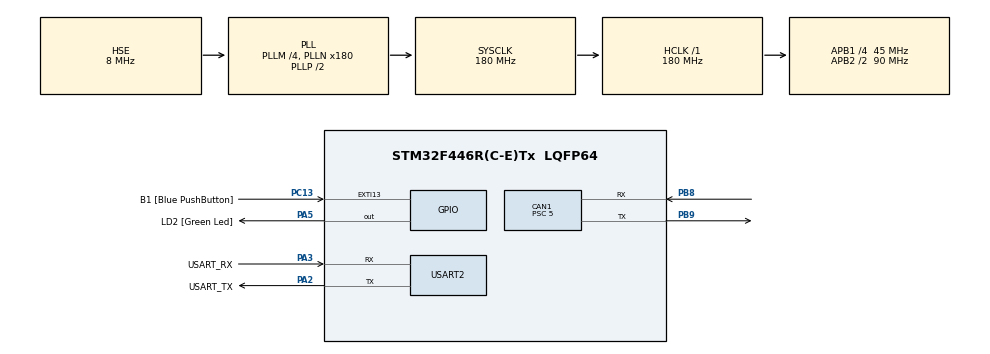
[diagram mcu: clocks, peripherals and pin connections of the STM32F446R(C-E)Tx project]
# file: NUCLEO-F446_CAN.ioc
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Mcu.Family=STM32F4
PH0-OSC_IN.Signal=RCC_OSC_IN
RCC.CortexFreq_Value=180000000
PA14.GPIO_Label=TCK
PC13.GPIO_Label=B1 [Blue PushButton]
RCC.SYSCLKSource=RCC_SYSCLKSOURCE_PLLCLK
ProjectManager.StackSize=0x400
RCC.HCLKFreq_Value=180000000
RCC.APB2TimFreq_Value=180000000
RCC.AHBFreq_Value=180000000
PH0-OSC_IN.Mode=HSE-External-Oscillator
RCC.HSE_VALUE=8000000
PC14-OSC32_IN.Mode=LSE-External-Oscillator
PA14.Mode=Serial_Wire
RCC.FLatency-AdvancedSettings=FLASH_LATENCY_5
PH1-OSC_OUT.Mode=HSE-External-Oscillator
CAN1.Prescaler=5
Mcu.Package=LQFP64
PB9.Signal=CAN1_TX
USART2.VirtualMode=VM_ASYNC
PA2.GPIO_Label=USART_TX
RCC.APB2CLKDivider=RCC_HCLK_DIV2
RCC.APB1TimFreq_Value=90000000
CAN1.CalculateTimeBit=1999.99
CAN1.CalculateTimeQuantum=111.11111111111111
PA3.Signal=USART2_RX
PB3.GPIO_Label=SWO
RCC.PLLSourceVirtual=RCC_PLLSOURCE_HSE
PC15-OSC32_OUT.Mode=LSE-External-Oscillator
PC13.Signal=GPXTI13
CAN1.CalculateBaudRate=500000
RCC.APB1CLKDivider=RCC_HCLK_DIV4
PC14-OSC32_IN.Signal=RCC_OSC32_IN
PA3.Mode=Asynchronous
PA13.Signal=SYS_JTMS-SWDIO
CAN1.BS2=CAN_BS2_2TQ
CAN1.BS1=CAN_BS1_15TQ
ProjectManager.TargetToolchain=STM32CubeIDE
PB9.Mode=CAN_Activate
RCC.USBFreq_Value=180000000
PC15-OSC32_OUT.Signal=RCC_OSC32_OUT
PA5.Signal=GPIO_Output
board=NUCLEO-F446RE
RCC.VCOOutputFreq_Value=360000000
RCC.APB2Freq_Value=90000000
PH1-OSC_OUT.Signal=RCC_OSC_OUT
PA13.Mode=Serial_Wire
Mcu.Name=STM32F446R(C-E)Tx
PA13.GPIO_Label=TMS
PA2.Signal=USART2_TX
RCC.48MHZClocksFreq_Value=84000000
PB3.Signal=SYS_JTDO-SWO
RCC.SYSCLKFreq_VALUE=180000000
PA5.GPIO_Label=LD2 [Green Led]
PC13.GPIO_ModeDefaultEXTI=GPIO_MODE_IT_FALLING
PA14.Signal=SYS_JTCK-SWCLK
ProjectManager.HeapSize=0x200
RCC.HSI_VALUE=16000000
NVIC.PriorityGroup=NVIC_PRIORITYGROUP_0
RCC.PLLM=4
PB8.Mode=CAN_Activate
RCC.PLLN=180
PA2.Mode=Asynchronous
PB8.Signal=CAN1_RX
RCC.APB1Freq_Value=45000000
NVIC.CAN1_RX0_IRQn=true\:0\:2\:false\:false\:true\:true\:true
PA3.GPIO_Label=USART_RX

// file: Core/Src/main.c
/* USER CODE BEGIN Header */
/**
  ******************************************************************************
  * @file           : main.c
  * @brief          : Main program body
  ******************************************************************************
  * @attention
  *
  * <h2><center>&copy; Copyright (c) 2021 STMicroelectronics.
  * All rights reserved.</center></h2>
  *
  * This software component is licensed by ST under BSD 3-Clause license,
  * the "License"; You may not use this file except in compliance with the
  * License. You may obtain a copy of the License at:
  *                        opensource.org/licenses/BSD-3-Clause
  *
  ******************************************************************************
  */
/* USER CODE END Header */
#include "main.h"
#include "can.h"
#include "usart.h"
#include "gpio.h"

/* USER CODE BEGIN PV */
extern CAN_TxHeaderTypeDef pHeader;
extern CAN_FilterTypeDef sFilterConfig;
extern uint32_t pTxMailbox;
uint8_t aData=2, rxData;
/* USER CODE END PV */

void SystemClock_Config(void);

int main(void)
{

  /* MCU Configuration--------------------------------------------------------*/

  /* Reset of all peripherals, Initializes the Flash interface and the Systick. */
  HAL_Init();

  /* Configure the system clock */
  SystemClock_Config();

  /* Initialize all configured peripherals */
  MX_GPIO_Init();
  MX_USART2_UART_Init();
  MX_CAN1_Init();
  /* USER CODE BEGIN 2 */
  sFilterConfig.FilterFIFOAssignment=CAN_FILTER_FIFO0;
  sFilterConfig.FilterIdHigh=0x245<<5;
  sFilterConfig.FilterIdLow=0;
  sFilterConfig.FilterMaskIdHigh=0;
  sFilterConfig.FilterMaskIdLow=0;
  sFilterConfig.FilterScale=CAN_FILTERSCALE_32BIT;
  sFilterConfig.FilterActivation=ENABLE;

HAL_CAN_ConfigFilter(&hcan1, &sFilterConfig);
HAL_CAN_Start(&hcan1);
HAL_CAN_ActivateNotification(&hcan1, CAN_IT_RX_FIFO0_MSG_PENDING);
  /* USER CODE END 2 */

  /* Infinite loop */
  /* USER CODE BEGIN WHILE */
  while (1)
  {
		pHeader.DLC=1;
		pHeader.IDE=CAN_ID_STD;
		pHeader.RTR=CAN_RTR_DATA;
		pHeader.StdId=0x244;

	  HAL_CAN_AddTxMessage(&hcan1, &pHeader, &aData, &pTxMailbox);
    /* USER CODE END WHILE */

  }
}

void SystemClock_Config(void)
{
  RCC_OscInitTypeDef RCC_OscInitStruct = {0};
  RCC_ClkInitTypeDef RCC_ClkInitStruct = {0};

  /** Configure the main internal regulator output voltage
  */
  __HAL_RCC_PWR_CLK_ENABLE();
  __HAL_PWR_VOLTAGESCALING_CONFIG(PWR_REGULATOR_VOLTAGE_SCALE1);
  /** Initializes the RCC Oscillators according to the specified parameters
  * in the RCC_OscInitTypeDef structure.
  */
  RCC_OscInitStruct.OscillatorType = RCC_OSCILLATORTYPE_HSE;
  RCC_OscInitStruct.HSEState = RCC_HSE_ON;
  RCC_OscInitStruct.PLL.PLLState = RCC_PLL_ON;
  RCC_OscInitStruct.PLL.PLLSource = RCC_PLLSOURCE_HSE;
  RCC_OscInitStruct.PLL.PLLM = 4;
  RCC_OscInitStruct.PLL.PLLN = 180;
  RCC_OscInitStruct.PLL.PLLP = RCC_PLLP_DIV2;
  RCC_OscInitStruct.PLL.PLLQ = 2;
  RCC_OscInitStruct.PLL.PLLR = 2;
  if (HAL_RCC_OscConfig(&RCC_OscInitStruct) != HAL_OK)
  {
    Error_Handler();
  }
  /** Activate the Over-Drive mode
  */
  if (HAL_PWREx_EnableOverDrive() != HAL_OK)
  {
    Error_Handler();
  }
  /** Initializes the CPU, AHB and APB buses clocks
  */
  RCC_ClkInitStruct.ClockType = RCC_CLOCKTYPE_HCLK|RCC_CLOCKTYPE_SYSCLK
                              |RCC_CLOCKTYPE_PCLK1|RCC_CLOCKTYPE_PCLK2;
  RCC_ClkInitStruct.SYSCLKSource = RCC_SYSCLKSOURCE_PLLCLK;
  RCC_ClkInitStruct.AHBCLKDivider = RCC_SYSCLK_DIV1;
  RCC_ClkInitStruct.APB1CLKDivider = RCC_HCLK_DIV4;
  RCC_ClkInitStruct.APB2CLKDivider = RCC_HCLK_DIV2;

  if (HAL_RCC_ClockConfig(&RCC_ClkInitStruct, FLASH_LATENCY_5) != HAL_OK)
  {
    Error_Handler();
  }
}

void Error_Handler(void)
{
  __disable_irq();
  while (1)
  {
  }
}

/************************ (C) COPYRIGHT STMicroelectronics *****END OF FILE****/
